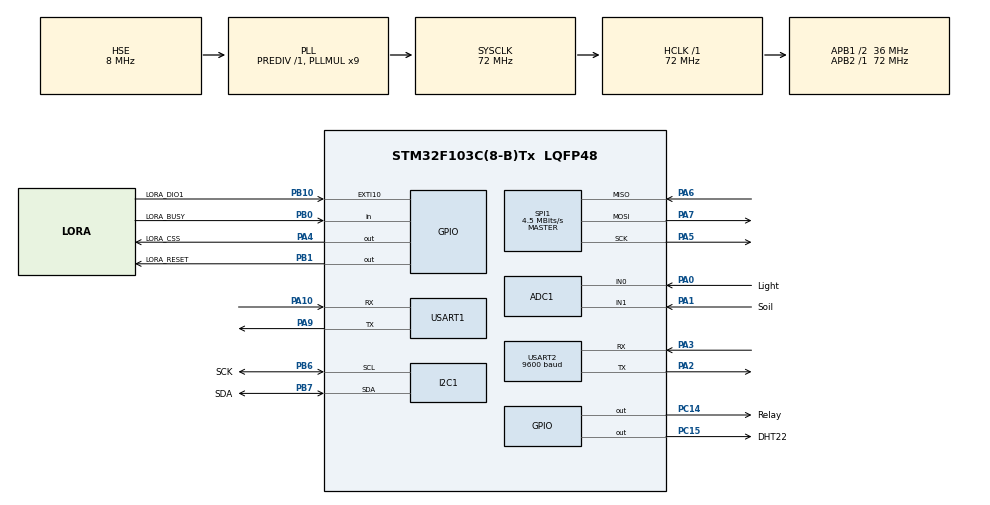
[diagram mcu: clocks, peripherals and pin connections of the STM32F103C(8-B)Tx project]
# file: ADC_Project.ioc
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ADC1.Channel-0\#ChannelRegularConversion=ADC_CHANNEL_0
ADC1.Channel-1\#ChannelRegularConversion=ADC_CHANNEL_1
ADC1.ContinuousConvMode=ENABLE
ADC1.NbrOfConversion=2
ADC1.NbrOfConversionFlag=1
ADC1.Rank-0\#ChannelRegularConversion=1
ADC1.Rank-1\#ChannelRegularConversion=2
ADC1.SamplingTime-0\#ChannelRegularConversion=ADC_SAMPLETIME_71CYCLES_5
ADC1.SamplingTime-1\#ChannelRegularConversion=ADC_SAMPLETIME_71CYCLES_5
ADC1.master=1
Dma.ADC1.0.Direction=DMA_PERIPH_TO_MEMORY
Dma.ADC1.0.Instance=DMA1_Channel1
Dma.ADC1.0.MemDataAlignment=DMA_MDATAALIGN_HALFWORD
Dma.ADC1.0.MemInc=DMA_MINC_ENABLE
Dma.ADC1.0.Mode=DMA_CIRCULAR
Dma.ADC1.0.PeriphDataAlignment=DMA_PDATAALIGN_HALFWORD
Dma.ADC1.0.PeriphInc=DMA_PINC_DISABLE
Dma.ADC1.0.Priority=DMA_PRIORITY_LOW
Dma.Request0=ADC1
Mcu.Family=STM32F1
Mcu.Name=STM32F103C(8-B)Tx
Mcu.Package=LQFP48
NVIC.DMA1_Channel1_IRQn=true\:0\:0\:false\:false\:true\:false\:true\:true
NVIC.EXTI15_10_IRQn=true\:0\:0\:false\:false\:true\:true\:true\:true
NVIC.PriorityGroup=NVIC_PRIORITYGROUP_4
NVIC.TIM4_IRQn=true\:0\:0\:false\:false\:true\:true\:true\:true
NVIC.USART2_IRQn=true\:0\:0\:false\:false\:true\:true\:true\:true
PA0-WKUP.GPIO_Label=Light
PA0-WKUP.GPIO_Mode=GPIO_MODE_ANALOG
PA0-WKUP.Signal=ADCx_IN0
PA1.GPIO_Label=Soil
PA1.Signal=ADCx_IN1
PA10.Mode=Asynchronous
PA10.Signal=USART1_RX
PA13.Mode=Serial_Wire
PA13.Signal=SYS_JTMS-SWDIO
PA14.Mode=Serial_Wire
PA14.Signal=SYS_JTCK-SWCLK
PA2.Mode=Asynchronous
PA2.Signal=USART2_TX
PA3.Mode=Asynchronous
PA3.Signal=USART2_RX
PA4.GPIO_Label=LORA_CSS
PA4.PinState=GPIO_PIN_SET
PA4.Signal=GPIO_Output
PA5.Mode=Full_Duplex_Master
PA5.Signal=SPI1_SCK
PA6.Mode=Full_Duplex_Master
PA6.Signal=SPI1_MISO
PA7.Mode=Full_Duplex_Master
PA7.Signal=SPI1_MOSI
PA9.Mode=Asynchronous
PA9.Signal=USART1_TX
PB0.GPIO_Label=LORA_BUSY
PB0.Signal=GPIO_Input
PB1.GPIO_Label=LORA_RESET
PB1.PinState=GPIO_PIN_SET
PB1.Signal=GPIO_Output
PB10.GPIO_Label=LORA_DIO1
PB10.Signal=GPXTI10
PB6.GPIO_Label=SCK
PB6.Mode=I2C
PB6.Signal=I2C1_SCL
PB7.GPIO_Label=SDA
PB7.Mode=I2C
PB7.Signal=I2C1_SDA
PC14-OSC32_IN.GPIO_Label=Relay
PC14-OSC32_IN.GPIO_ModeDefaultOutputPP=GPIO_MODE_OUTPUT_PP
PC14-OSC32_IN.PinState=GPIO_PIN_RESET
PC14-OSC32_IN.Signal=GPIO_Output
PC15-OSC32_OUT.GPIO_Label=DHT22
PC15-OSC32_OUT.Signal=GPIO_Output
PD0-OSC_IN.Mode=HSE-External-Oscillator
PD0-OSC_IN.Signal=RCC_OSC_IN
PD1-OSC_OUT.Mode=HSE-External-Oscillator
PD1-OSC_OUT.Signal=RCC_OSC_OUT
ProjectManager.HeapSize=0x200
ProjectManager.StackSize=0x400
ProjectManager.TargetToolchain=MDK-ARM V5
RCC.ADCPresc=RCC_ADCPCLK2_DIV6
RCC.AHBFreq_Value=72000000
RCC.APB1CLKDivider=RCC_HCLK_DIV2
RCC.APB1Freq_Value=36000000
RCC.APB1TimFreq_Value=72000000
RCC.APB2Freq_Value=72000000
RCC.APB2TimFreq_Value=72000000
RCC.HCLKFreq_Value=72000000
RCC.PLLMUL=RCC_PLL_MUL9
RCC.PLLSourceVirtual=RCC_PLLSOURCE_HSE
RCC.SYSCLKFreq_VALUE=72000000
RCC.SYSCLKSource=RCC_SYSCLKSOURCE_PLLCLK
RCC.USBFreq_Value=72000000
SH.ADCx_IN0.0=ADC1_IN0,IN0
SH.ADCx_IN1.0=ADC1_IN1,IN1
SPI1.BaudRatePrescaler=SPI_BAUDRATEPRESCALER_16
SPI1.CalculateBaudRate=4.5 MBits/s
SPI1.Direction=SPI_DIRECTION_2LINES
SPI1.Mode=SPI_MODE_MASTER
SPI1.VirtualType=VM_MASTER
TIM3.Period=60000
TIM3.Prescaler=72-1
TIM4.Period=5000-1
TIM4.Prescaler=7200-1
USART1.VirtualMode=VM_ASYNC
USART2.BaudRate=9600
USART2.VirtualMode=VM_ASYNC
VP_TIM3_VS_ClockSourceINT.Mode=Internal
VP_TIM4_VS_ClockSourceINT.Mode=Internal
board=custom

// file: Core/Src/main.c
/* USER CODE BEGIN Header */
/**
 ******************************************************************************
 * @file           : main.c
 * @brief          : Main program body
 ******************************************************************************
 * @attention
 *
 * Copyright (c) 2026 STMicroelectronics.
 * All rights reserved.
 *
 * This software is licensed under terms that can be found in the LICENSE file
 * in the root directory of this software component.
 * If no LICENSE file comes with this software, it is provided AS-IS.
 *
 ******************************************************************************
 */
/* USER CODE END Header */
#include "main.h"
#include "adc.h"
#include "dma.h"
#include "i2c.h"
#include "spi.h"
#include "tim.h"
#include "usart.h"
#include "gpio.h"

/* USER CODE BEGIN Includes */
#include <stdio.h>
#include <string.h>
#include <stdbool.h>
#include "oled.h"
#include "dht22.h"
#include "delay.h"
#include "radio.h"
#include "LLCC68_example_send.h"

#include "FreeRTOSConfig.h"
#include "FreeRTOS.h"
#include "task.h"

/* USER CODE END Includes */

/* USER CODE BEGIN PTD */
#define SAMPLE_INTERVAL_MS 2000U // 采样周期 3 秒

volatile uint8_t Usart2_Receive_FLAG = 0;

volatile uint16_t adc_buf[2] = {0};
air_t air = {0};   // 接收二氧化碳变量
float HUMI = 0.0f; // 接收湿度
float TEMP = 0.0f; // 接收温度

// volatile bool HOT_FLAG = false;

uint16_t light_val = 0;
float soil_val = 0.0;

uint32_t last_sample_tick = 0;
uint8_t oled_status = 1; // 0 = OK，其他 = 失败

#define RX_DMA_SIZE 6
uint8_t usart2_rx_dma[RX_DMA_SIZE];  // DMA搬运的目标缓冲区
uint8_t usart2_rx_data[RX_DMA_SIZE]; // 完整数据帧保存数组
uint16_t usart2_rx_len = 0;

volatile uint8_t cnt = 0;            // 数组下标计数器
uint8_t rxbuffer[BUFFER_SIZE] = {0}; // 接收缓存区
uint8_t rxdata[BUFFER_SIZE] = {0};   // 数据保存数组
uint8_t txbuffer[BUFFER_SIZE] = {0}; // 发送缓存区
uint8_t txdata[BUFFER_SIZE] = {0};   // 发送

char sendData[64] = {0};
/* USER CODE END PTD */

/* USER CODE BEGIN PV */
TaskHandle_t xReadDataHandle = NULL;
TaskHandle_t xOutputDataHandle = NULL;
TaskHandle_t xSendDataHandle = NULL;
/* USER CODE END PV */

void SystemClock_Config(void);

/* USER CODE BEGIN 0 */
bool JW01_GetVal(air_t *air)
{
  // 1.校验帧头
  if (usart2_rx_data[0] != 0x2c)
  {
    printf("JW01帧头地址校验错误\n");
    return false;
  }

  // 2.校验和
  uint8_t checksum = 0;
  for (size_t i = 0; i < 5; i++)
  {
    checksum += usart2_rx_data[i];
  }
  if (usart2_rx_data[5] != checksum)
  {
    printf("JW01校验和失败\n");
    return false;
  }

  // 3.获取数据
  air->co2 = (uint16_t)((usart2_rx_data[1] << 8) | usart2_rx_data[2]);
  air->max = (uint16_t)((usart2_rx_data[3] << 8) | usart2_rx_data[4]);

  return true;
}

// // 读取所有的数据
// static void Read_All_Sensors(void)
// {
//   // 1. 光照 + 土壤：ADC DMA 已在后台刷新 adc_buf
//   uint16_t temp = 0;

//   light_val = adc_buf[0];
//   soil_val = (1 - (float)(adc_buf[1] / 4095.0)) * 100;

//   // 2. CO2：串口收到新帧才解析，失败保留原值
//   if (Usart2_Receive_FLAG)
//   {
//     (void)JW01_GetVal(&air);
//     Usart2_Receive_FLAG = 0;
//     usart2_rx_len = 0;
//   }

//   // 3. 温湿度：DHT22 失败保留原值，不重试、不刷屏
//   (void)DHT22_GetVal(&TEMP, &HUMI);
// }

// // 串口发送加OLED显示
// static void Output_All_Sensors(void)
// {
//   char line[24];

//   /* 串口1 输出一行，方便上位机解析 */
//   printf("Light=%u,Soil=%.1f,CO2=%u,TEMP=%.1f,HUMI=%.1f\r\n",
//          (unsigned int)light_val,
//          soil_val,
//          (unsigned int)air.co2,
//          TEMP,
//          HUMI);

//   /* OLED 刷新 */
//   if (oled_status == 0)
//   {
//     snprintf(line, sizeof(line), "Light: %6u", (unsigned int)light_val);
//     OLED_ShowString(0, 0, line);

//     snprintf(line, sizeof(line), "Co2  : %6u", (unsigned int)air.co2);
//     OLED_ShowString(0, 10, line);

//     snprintf(line, sizeof(line), "Soil : %6.1f", soil_val);
//     OLED_ShowString(0, 20, line);

//     snprintf(line, sizeof(line), "Temp : %6.1f", TEMP);
//     OLED_ShowString(0, 30, line);

//     snprintf(line, sizeof(line), "Humi : %6.1f", HUMI);
//     OLED_ShowString(0, 40, line);

//     (void)OLED_Refresh();
//   }
// }

// static uint8_t Merge_All_Sensors(void)
// {
//   int length = snprintf(sendData, sizeof(sendData),
//                         "%u_%.1f_%u_%.1f_%.1f_",
//                         (unsigned int)light_val,
//                         (float)soil_val,
//                         (unsigned int)air.co2,
//                         (float)TEMP,
//                         (float)HUMI);

//   if (length < 0 || (size_t)length >= sizeof(sendData))
//   {
//     sendData[0] = '\0';
//     return 0;
//   }

//   return (uint8_t)length;
// }

// 任务1：读取所有传感器数据
/* [修改] 去掉 OLED 初始化（移到 main），并增加 2 秒采样间隔，避免最高优先级任务独占 CPU */
static void vReadDataTask(void *pvParameters)
{
  (void)pvParameters;

  if (HAL_ADCEx_Calibration_Start(&hadc1) != HAL_OK)
  {
    printf("ADC calibration failed\r\n");
  }
  if (HAL_ADC_Start_DMA(&hadc1, (uint32_t *)adc_buf, 2) != HAL_OK)
  {
    printf("ADC DMA start failed\r\n");
  }
  if (HAL_UARTEx_ReceiveToIdle_IT(&huart2, usart2_rx_dma, RX_DMA_SIZE) != HAL_OK)
  {
    printf("USART2 receive start failed\r\n");
  }

  for (;;)
  {
    light_val = adc_buf[0];
    soil_val = (1.0f - (float)adc_buf[1] / 4095.0f) * 100.0f;

    if (Usart2_Receive_FLAG)
    {
      (void)JW01_GetVal(&air);
      Usart2_Receive_FLAG = 0;
    }

    (void)DHT22_GetVal(&TEMP, &HUMI);

    /* [修改] DHT22 要求两次采样间隔 ≥2s，同时让出 CPU 给其他任务 */
    vTaskDelay(pdMS_TO_TICKS(2000));
  }
}

// 任务2：串口打印 + OLED屏显示传感器数据
/* [修改] 增加 1 秒刷新间隔，避免 printf + OLED 独占 CPU */
static void vOutputDataTask(void *pvParameters)
{
  char line[24];

  (void)pvParameters;

  for (;;)
  {
    /* 串口1 输出一行，方便上位机解析 */
    printf("Light=%u,Soil=%.1f,CO2=%u,TEMP=%.1f,HUMI=%.1f\r\n",
           (unsigned int)light_val,
           soil_val,
           (unsigned int)air.co2,
           TEMP,
           HUMI);

    /* OLED 刷新 */
    if (oled_status == 0)
    {
      line[0] = '\0';
      snprintf(line, sizeof(line), "Light: %6u", (unsigned int)light_val);
      OLED_ShowString(0, 0, line);

      snprintf(line, sizeof(line), "Co2  : %6u", (unsigned int)air.co2);
      OLED_ShowString(0, 10, line);

      snprintf(line, sizeof(line), "Soil : %6.1f", soil_val);
      OLED_ShowString(0, 20, line);

      snprintf(line, sizeof(line), "Temp : %6.1f", TEMP);
      OLED_ShowString(0, 30, line);

      snprintf(line, sizeof(line), "Humi : %6.1f", HUMI);
      OLED_ShowString(0, 40, line);

      (void)OLED_Refresh();
    }

    /* [修改] 1 秒刷新一次，OLED 全屏刷新约 100ms */
    vTaskDelay(pdMS_TO_TICKS(1000));
  }
}

// 任务3：将采集的传感器数据通过LoRa发送网关
/* [修改] 不再每次 Radio.Init，改为 LoRa_Send；增加 2 秒发送间隔 */
static void vSendDataTask(void *pvParameters)
{
  (void)pvParameters;

  for (;;)
  {
    int length = snprintf(sendData, sizeof(sendData),
                          "%u_%.1f_%u_%.1f_%.1f_",
                          (unsigned int)light_val,
                          (float)soil_val,
                          (unsigned int)air.co2,
                          (float)TEMP,
                          (float)HUMI);

    if (length > 0 && (size_t)length < sizeof(sendData))
    {
      (void)LoRa_Send(sendData, 1000);
    }

    /* [修改] 2 秒发一包，和采样周期对齐 */
    vTaskDelay(pdMS_TO_TICKS(2000));
  }
}

/* [修改] 栈溢出钩子，便于定位任务栈不足 */
void vApplicationStackOverflowHook(TaskHandle_t xTask, char *pcTaskName)
{
  (void)xTask;
  printf("STACK OVERFLOW: %s\r\n", pcTaskName);
  for (;;) { }
}

/* USER CODE END 0 */

int main(void)
{

  /* MCU Configuration--------------------------------------------------------*/

  /* Reset of all peripherals, Initializes the Flash interface and the Systick. */
  HAL_Init();

  /* Configure the system clock */
  SystemClock_Config();

  /* Initialize all configured peripherals */
  MX_GPIO_Init();
  MX_DMA_Init();
  MX_ADC1_Init();
  MX_USART1_UART_Init();
  MX_TIM3_Init();
  MX_TIM4_Init();
  MX_USART2_UART_Init();
  MX_I2C1_Init();
  MX_SPI1_Init();
  /* USER CODE BEGIN 2 */
  // HAL_ADCEx_Calibration_Start(&hadc1);               // 1. 开启ADC前进行校准（提高精度）
  // HAL_ADC_Start_DMA(&hadc1, (uint32_t *)adc_buf, 2); // 2. 启动ADC DMA，长度为2
  HAL_TIM_Base_Start(&htim3); // 3. 启动计数器

  /* [修改] OLED 初始化移到调度器启动前；失败只打印，不再 Error_Handler */
  oled_status = OLED_Init(&hi2c1);
  if (oled_status == 0)
  {
    OLED_Clear();
    OLED_ShowString(0, 32, "Hello");
    (void)OLED_Refresh();
  }
  else
  {
    printf("OLED init failed, continue without display\r\n");
  }
  // Radio.IrqProcess();         // 处理一次无线中断事件
  // HAL_TIM_Base_Start_IT(&htim4);                     // 4. 启用定时器中断

  /* [修改] 上面的 OLED 初始化已经完成，这里删除重复初始化，避免 I2C 初始化两次 */

  // HAL_UARTEx_ReceiveToIdle_IT(&huart2, usart2_rx_dma, RX_DMA_SIZE); // 5. 启用串口空闲接收中断
  // OLED初始化
  // oled_status = OLED_Init(&hi2c1);
  // if (oled_status == 0)
  // {
  //   OLED_Clear();
  //   OLED_ShowString(0, 32, "Hello");
  //   if (OLED_Refresh() != HAL_OK)
  //   {
  //     Error_Handler();
  //   }
  // }
  // else
  // {
  //   Error_Handler();
  // }

  // Read_All_Sensors();
  // Output_All_Sensors();
  // last_sample_tick = HAL_GetTick();

  // 1. 创建任务
  /* [修改] 检查任务创建结果，避免堆不够时任务没建出来 */
  if (xTaskCreate(vReadDataTask, "ReadData", 768, NULL, 4, &xReadDataHandle) != pdPASS)
  {
    Error_Handler();
  }
  if (xTaskCreate(vOutputDataTask, "OutputData", 768, NULL, 3, &xOutputDataHandle) != pdPASS)
  {
    Error_Handler();
  }
  if (xTaskCreate(vSendDataTask, "SenddData", 768, NULL, 2, &xSendDataHandle) != pdPASS)
  {
    Error_Handler();
  }

  // 2.启动调度器
  vTaskStartScheduler();

  // 3.启动失败
  Error_Handler();

  /* USER CODE END 2 */

  /* Infinite loop */
  /* USER CODE BEGIN WHILE */
  while (1)
  {
    // uint32_t now = HAL_GetTick();

    // if ((now - last_sample_tick) >= SAMPLE_INTERVAL_MS)
    // {
    //   last_sample_tick = now;
    //   Read_All_Sensors(); // 同一个地方读四个数据
    //   if(TEMP >= 27.0)
    //   {
    //     HOT_FLAG = true;
    //     HAL_GPIO_WritePin(Relay_GPIO_Port, Relay_Pin, GPIO_PIN_SET);
    //   }
    //   else
    //   {
    //     HOT_FLAG = false;
    //     HAL_GPIO_WritePin(Relay_GPIO_Port, Relay_Pin, GPIO_PIN_RESET);
    //   }
    //   Output_All_Sensors(); // 串口发送 + OLED 显示
    //   if (Merge_All_Sensors() > 0)
    //   {
    //     ExampleLLCC68SendDemo(sendData);
    //   }
    //   Clear_All_Buffers();  // 清缓冲区，等下一轮
    //   memset(usart2_rx_data, 0, sizeof(usart2_rx_data));
    //   memset(sendData, 0, sizeof(sendData));
    // }

    // 通过LORA天线向网关发送数据

    /* USER CODE END WHILE */

  }
}

void SystemClock_Config(void)
{
  RCC_OscInitTypeDef RCC_OscInitStruct = {0};
  RCC_ClkInitTypeDef RCC_ClkInitStruct = {0};
  RCC_PeriphCLKInitTypeDef PeriphClkInit = {0};

  /** Initializes the RCC Oscillators according to the specified parameters
   * in the RCC_OscInitTypeDef structure.
   */
  RCC_OscInitStruct.OscillatorType = RCC_OSCILLATORTYPE_HSE;
  RCC_OscInitStruct.HSEState = RCC_HSE_ON;
  RCC_OscInitStruct.HSEPredivValue = RCC_HSE_PREDIV_DIV1;
  RCC_OscInitStruct.HSIState = RCC_HSI_ON;
  RCC_OscInitStruct.PLL.PLLState = RCC_PLL_ON;
  RCC_OscInitStruct.PLL.PLLSource = RCC_PLLSOURCE_HSE;
  RCC_OscInitStruct.PLL.PLLMUL = RCC_PLL_MUL9;
  if (HAL_RCC_OscConfig(&RCC_OscInitStruct) != HAL_OK)
  {
    Error_Handler();
  }

  /** Initializes the CPU, AHB and APB buses clocks
   */
  RCC_ClkInitStruct.ClockType = RCC_CLOCKTYPE_HCLK | RCC_CLOCKTYPE_SYSCLK | RCC_CLOCKTYPE_PCLK1 | RCC_CLOCKTYPE_PCLK2;
  RCC_ClkInitStruct.SYSCLKSource = RCC_SYSCLKSOURCE_PLLCLK;
  RCC_ClkInitStruct.AHBCLKDivider = RCC_SYSCLK_DIV1;
  RCC_ClkInitStruct.APB1CLKDivider = RCC_HCLK_DIV2;
  RCC_ClkInitStruct.APB2CLKDivider = RCC_HCLK_DIV1;

  if (HAL_RCC_ClockConfig(&RCC_ClkInitStruct, FLASH_LATENCY_2) != HAL_OK)
  {
    Error_Handler();
  }
  PeriphClkInit.PeriphClockSelection = RCC_PERIPHCLK_ADC;
  PeriphClkInit.AdcClockSelection = RCC_ADCPCLK2_DIV6;
  if (HAL_RCCEx_PeriphCLKConfig(&PeriphClkInit) != HAL_OK)
  {
    Error_Handler();
  }
}

/* USER CODE BEGIN 4 */
// 通用异步收发接收器 扩展 接收 事件 回调函数
void HAL_UARTEx_RxEventCallback(UART_HandleTypeDef *huart, uint16_t Size)
{
  if (huart->Instance == USART2)
  {
    if (RX_DMA_SIZE == Size && Usart2_Receive_FLAG == 0)
    {
      memcpy(usart2_rx_data, usart2_rx_dma, Size);
      usart2_rx_len = Size;
      memset(usart2_rx_dma, 0, Size);
      Usart2_Receive_FLAG = 1;
    }

    HAL_UARTEx_ReceiveToIdle_IT(&huart2, usart2_rx_dma, RX_DMA_SIZE); // 重新启用串口空闲接收中断
  }
}

// adc采样数据转换后中断
void HAL_ADC_ConvCpltCallback(ADC_HandleTypeDef *hadc)
{
  if (hadc->Instance == ADC1)
  {
    /* ADC DMA buffer contains the first two sensor readings. */
  }
}

/* USER CODE END 4 */

void Error_Handler(void)
{
  __disable_irq();
  while (1)
  {
  }
}
